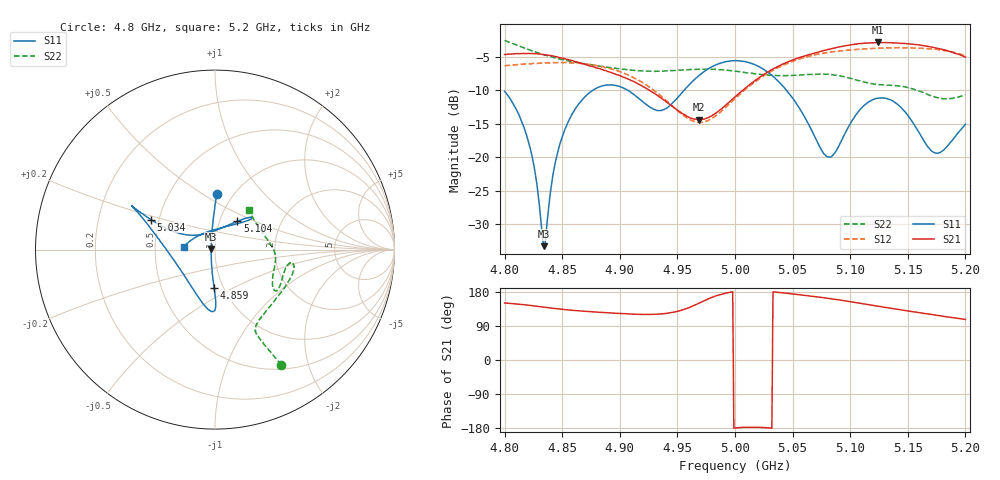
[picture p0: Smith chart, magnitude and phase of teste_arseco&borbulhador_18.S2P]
! Network Analyzer HP8722D
! Hewlett-Packard
! Data name: Linha & Wilkinson
! Saver's name: Rodrigo Anjos
! Comments: Teste da utilização de aquisição
! continua pelo VNA HP8722D
! Time and date: 15/4/2025 15:47
!  Frequency  S11  S21  S12  S22
# HZ  S  MA R 50
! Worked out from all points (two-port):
!   401 points, 4.8 GHz to 5.2 GHz, reference 50 ohm
!   highest |S21| = -2.90 dB at 5.124 GHz (marker M1); lowest = -14.4 dB at 4.969 GHz (marker M2)
!   |S21| within 3 dB of the highest: start of sweep to 4.865 GHz; 5.044 GHz to end of sweep
!   lowest |S11| = -33.3 dB at 4.834 GHz (marker M3), VSWR 1.04, Z = 47.9 + j0.278 ohm
!   |S11| at or under -10 dB: start of sweep to 4.877 GHz; 4.907 GHz to 4.956 GHz (49.53 MHz wide, 1 % of centre); 5.045 GHz to end of sweep
!   |S22| runs from -11.3 to -2.6 dB; largest |S21 - S12| = 1.3
!   S11 on the Smith chart (normalised r, x): 4.8 GHz: 0.84, +0.57; 4.859 GHz: 0.90, -0.40; 5.034 GHz: 0.45, +0.18; 5.104 GHz: 1.21, +0.40; 5.2 GHz: 0.70, +0.02
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4.8e9  0.3095 88.3  0.5829 150.4  0.4805 -111.4  0.7411 -60.1
4.811e9  0.2195 90.9  0.5916 147.4  0.4895 -111.3  0.6822 -60.9
4.821e9  0.1282 96.2  0.594 144.4  0.4962 -110.6  0.6325 -61.9
4.827e9  0.07195 105.0  0.5903 142.2  0.4987 -110.0  0.6071 -62.4
4.834e9  0.02174 172.3  0.5806 139.5  0.5029 -109.4  0.5797 -62.9
4.836e9  0.02715 -143.4  0.5786 138.7  0.5034 -109.2  0.5732 -63.1
4.841e9  0.06498 -108.1  0.5705 136.7  0.507 -109.0  0.5582 -63.3
4.845e9  0.09938 -100.2  0.5605 135.5  0.5065 -108.9  0.547 -63.4
4.859e9  0.2127 -91.5  0.5241 131.0  0.5042 -108.6  0.5159 -63.9
4.867e9  0.2659 -89.6  0.4994 129.1  0.4984 -108.7  0.5 -63.4
4.895e9  0.3441 -93.6  0.4204 123.7  0.4481 -111.5  0.4603 -57.2
4.934e9  0.2227 -145.9  0.283 121.1  0.2944 -116.3  0.4368 -35.6
4.969e9  0.4072 159.0  0.19 150.4  0.1817 -85.5  0.4526 -16.9
5e9  0.5247 152.3  0.2811 -179.5  0.2733 -49.7  0.4373 -9.9
5.034e9  0.3941 154.8  0.4595 179.6  0.4487 -43.4  0.4067 -15.4
5.067e9  0.1556 149.0  0.59 168.2  0.5743 -46.6  0.4141 -29.3
5.083e9  0.1003 101.6  0.6398 161.6  0.607 -49.6  0.412 -33.8
5.104e9  0.2013 51.7  0.6957 152.0  0.6328 -54.2  0.3794 -32.2
5.124e9  0.2751 41.0  0.7166 142.1  0.65 -59.9  0.3483 -19.9
5.134e9  0.2693 40.0  0.7123 137.0  0.6513 -63.3  0.344 -12.6
5.174e9  0.1074 104.5  0.6532 118.5  0.6366 -77.3  0.28 20.0
5.2e9  0.176 174.4  0.5573 107.1  0.5721 -86.4  0.2911 49.8
